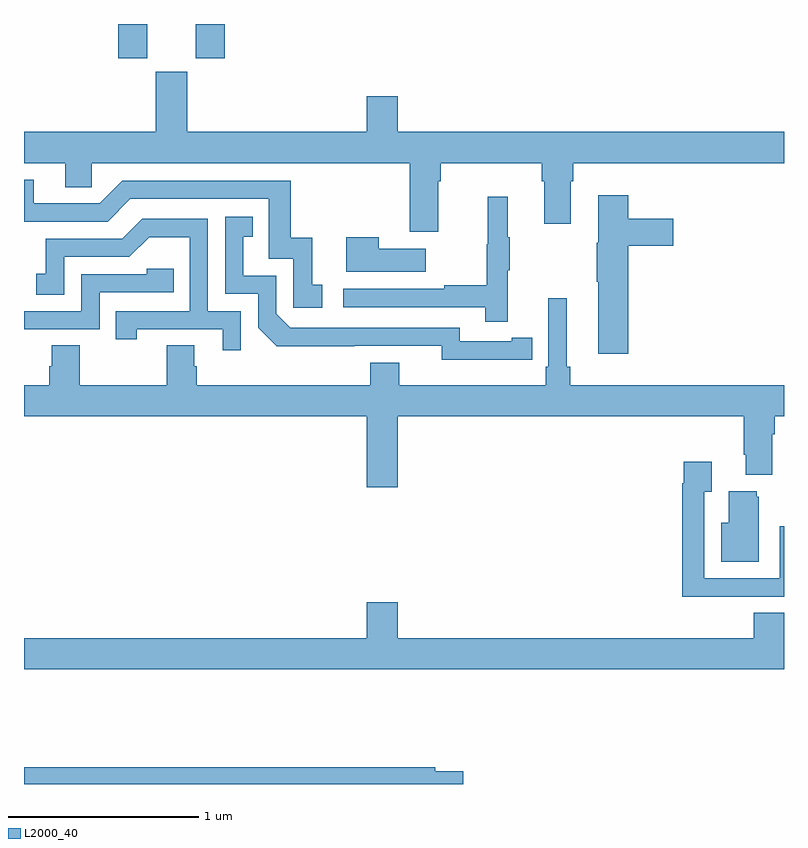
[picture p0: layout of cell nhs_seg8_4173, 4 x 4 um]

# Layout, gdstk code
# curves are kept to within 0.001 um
import gdstk
lib = gdstk.Library(unit=1e-6, precision=1e-09)
def R(c, l, rs):  # rectangles x0, y0, x1, y1
    for r in rs: c.add(gdstk.rectangle(r[:2], r[2:], *l))
def P(c, l, *ps):  # polygons
    for p in ps: c.add(gdstk.Polygon(p, *l))
L2000_40 = (2000, 40)

nhs_seg8_4173 = lib.new_cell('nhs_seg8_4173')
R(nhs_seg8_4173, L2000_40, [(367.496,1115.721,367.648,1115.9), (367.904,1115.721,368.057,1115.9)])
P(nhs_seg8_4173, L2000_40, [(369.181,1115.072),(369.194,1115.072),(369.194,1115.168),(369.725,1115.168),(369.725,1115.072),(369.737,1115.072),(369.737,1114.848),(369.877,1114.848),(369.877,1115.072),(369.89,1115.072),(369.89,1115.168),(371,1115.168),(371,1115.332),(368.968,1115.332),(368.968,1115.521),(368.804,1115.521),(368.804,1115.332),(367.858,1115.332),(367.858,1115.649),(367.694,1115.649),(367.694,1115.332),(367,1115.332),(367,1115.168),(367.217,1115.168),(367.217,1115.041),(367.356,1115.041),(367.356,1115.168),(369.029,1115.168),(369.029,1114.806),(369.181,1114.806)],
  [(368.569,1114.527),(368.516,1114.527),(368.516,1114.774),(368.405,1114.774),(368.405,1115.076),(367.518,1115.076),(367.398,1114.956),(367.051,1114.956),(367.051,1115.079),(367,1115.079),(367,1114.86),(367.44,1114.86),(367.56,1114.98),(368.289,1114.98),(368.289,1114.665),(368.418,1114.665),(368.418,1114.407),(368.569,1114.407)],
  [(370.181,1114.733),(370.417,1114.733),(370.417,1114.875),(370.181,1114.875),(370.181,1114.999),(370.022,1114.999),(370.022,1114.749),(370.015,1114.749),(370.015,1114.543),(370.022,1114.543),(370.022,1114.164),(370.181,1114.164)],
  [(369.545,1114.603),(369.556,1114.603),(369.556,1114.777),(369.545,1114.777),(369.545,1114.99),(369.442,1114.99),(369.442,1114.74),(369.435,1114.74),(369.435,1114.526),(369.211,1114.526),(369.211,1114.506),(368.679,1114.506),(368.679,1114.41),(369.427,1114.41),(369.427,1114.332),(369.545,1114.332)],
  [(369.566,1114.134),(369.674,1114.134),(369.674,1114.25),(369.566,1114.25),(369.566,1114.23),(369.294,1114.23),(369.294,1114.302),(368.4,1114.302),(368.328,1114.374),(368.328,1114.575),(368.155,1114.575),(368.155,1114.779),(368.204,1114.779),(368.204,1114.885),(368.058,1114.885),(368.058,1114.479),(368.232,1114.479),(368.232,1114.302),(368.33,1114.205),(369.198,1114.206),(369.198,1114.133)],
  [(368.142,1114.389),(367.968,1114.389),(367.968,1114.875),(367.622,1114.875),(367.517,1114.77),(367.114,1114.77),(367.114,1114.585),(367.065,1114.585),(367.065,1114.476),(367.212,1114.476),(367.212,1114.674),(367.554,1114.674),(367.658,1114.778),(367.872,1114.778),(367.872,1114.389),(367.483,1114.389),(367.483,1114.242),(367.594,1114.242),(367.594,1114.293),(368.045,1114.293),(368.045,1114.182),(368.142,1114.182)],
  [(369.115,1114.717),(368.867,1114.717),(368.867,1114.777),(368.696,1114.777),(368.696,1114.595),(369.115,1114.595)],
  [(367.398,1114.488),(367.787,1114.488),(367.787,1114.611),(367.647,1114.611),(367.647,1114.584),(367.302,1114.584),(367.302,1114.389),(367,1114.389),(367,1114.293),(367.398,1114.293)],
  [(369.875,1114.096),(369.856,1114.096),(369.856,1114.456),(369.759,1114.456),(369.759,1114.096),(369.746,1114.096),(369.746,1114),(368.974,1114),(368.974,1114.117),(368.822,1114.117),(368.822,1114),(367.91,1114),(367.91,1114.098),(367.897,1114.098),(367.897,1114.208),(367.75,1114.208),(367.75,1114),(367.293,1114),(367.293,1114.208),(367.145,1114.208),(367.145,1114.098),(367.133,1114.098),(367.133,1114),(367,1114),(367,1113.836),(368.804,1113.836),(368.804,1113.462),(368.968,1113.462),(368.968,1113.836),(370.787,1113.836),(370.787,1113.634),(370.799,1113.634),(370.799,1113.527),(370.939,1113.527),(370.939,1113.74),(370.952,1113.74),(370.952,1113.836),(371,1113.836),(371,1114),(369.875,1114)],
  [(370.757,1112.886),(371,1112.886),(371,1113.256),(370.977,1113.256),(370.977,1112.982),(370.581,1112.982),(370.581,1113.439),(370.621,1113.439),(370.621,1113.595),(370.473,1113.595),(370.473,1113.482),(370.465,1113.482),(370.465,1112.885),(370.757,1112.885)],
  [(370.867,1113.411),(370.856,1113.411),(370.856,1113.442),(370.709,1113.442),(370.709,1113.274),(370.67,1113.274),(370.67,1113.071),(370.867,1113.071)],
  [(371,1112.801),(370.841,1112.801),(370.841,1112.668),(368.968,1112.668),(368.968,1112.857),(368.804,1112.857),(368.804,1112.668),(367,1112.668),(367,1112.504),(371,1112.504)],
  [(369.311,1111.968),(369.164,1111.968),(369.164,1111.988),(367,1111.988),(367,1111.9),(369.311,1111.9)])

lib.write_gds('nhs_seg8_4173.gds')
